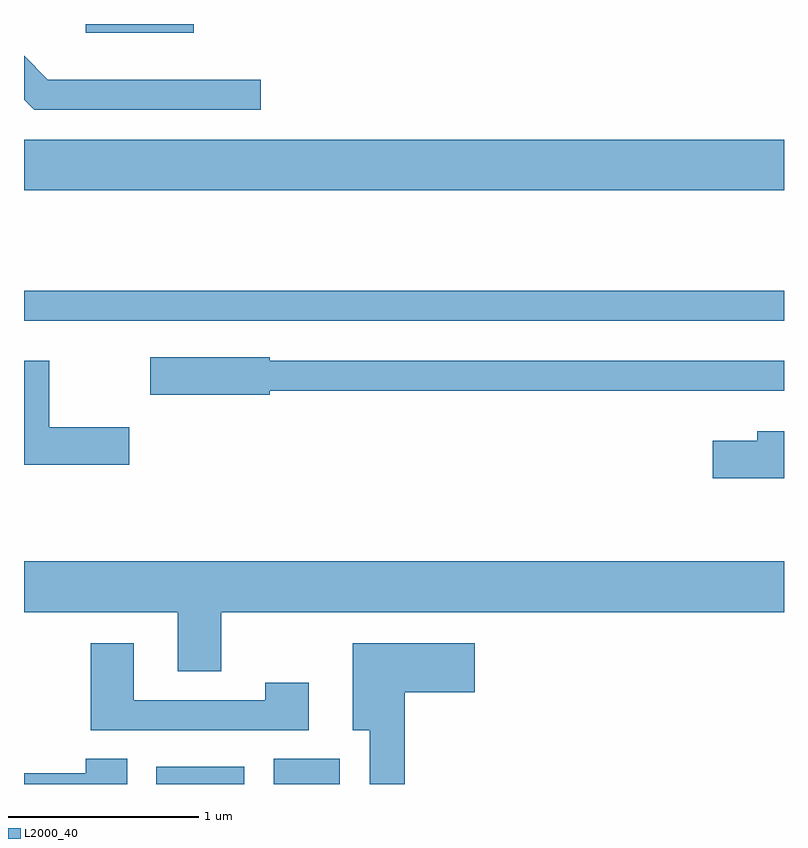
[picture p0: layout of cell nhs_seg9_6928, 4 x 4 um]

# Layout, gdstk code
import gdstk
lib = gdstk.Library(unit=1e-6, precision=1e-09)
def R(c, l, rs):  # rectangles x0, y0, x1, y1
    for r in rs: c.add(gdstk.rectangle(r[:2], r[2:], *l))
def P(c, l, *ps):  # polygons
    for p in ps: c.add(gdstk.Polygon(p, *l))
L2000_40 = (2000, 40)

nhs_seg9_6928 = lib.new_cell('nhs_seg9_6928')
R(nhs_seg9_6928, L2000_40, [(390.306,2026.432,390.769,2026.524), (390.926,2026.432,391.274,2026.564), (389.611,2028.871,393.611,2029.029), (389.611,2029.556,393.611,2029.824), (389.936,2030.386,390.504,2030.432)])
P(nhs_seg9_6928, L2000_40, [(390.858,2030.139),(389.737,2030.139),(389.611,2030.265),(389.611,2030.034),(389.664,2029.981),(390.858,2029.981)],
  [(390.904,2028.501),(393.611,2028.501),(393.611,2028.659),(390.904,2028.659),(390.904,2028.679),(390.276,2028.679),(390.276,2028.481),(390.904,2028.481)],
  [(390.164,2028.309),(389.744,2028.309),(389.744,2028.659),(389.611,2028.659),(389.611,2028.111),(390.164,2028.111)],
  [(393.611,2028.289),(393.471,2028.289),(393.471,2028.239),(393.236,2028.239),(393.236,2028.041),(393.611,2028.041)],
  [(390.649,2027.336),(393.611,2027.336),(393.611,2027.604),(389.611,2027.604),(389.611,2027.336),(390.421,2027.336),(390.421,2027.026),(390.649,2027.026)],
  [(391.109,2026.964),(390.881,2026.964),(390.881,2026.874),(390.189,2026.874),(390.189,2027.174),(389.961,2027.174),(389.961,2026.716),(391.109,2026.716)],
  [(391.614,2026.916),(391.984,2026.916),(391.984,2027.174),(391.341,2027.174),(391.341,2026.716),(391.431,2026.716),(391.431,2026.432),(391.614,2026.432)],
  [(390.154,2026.564),(389.936,2026.564),(389.936,2026.489),(389.611,2026.489),(389.611,2026.432),(390.154,2026.432)])

lib.write_gds('nhs_seg9_6928.gds')
